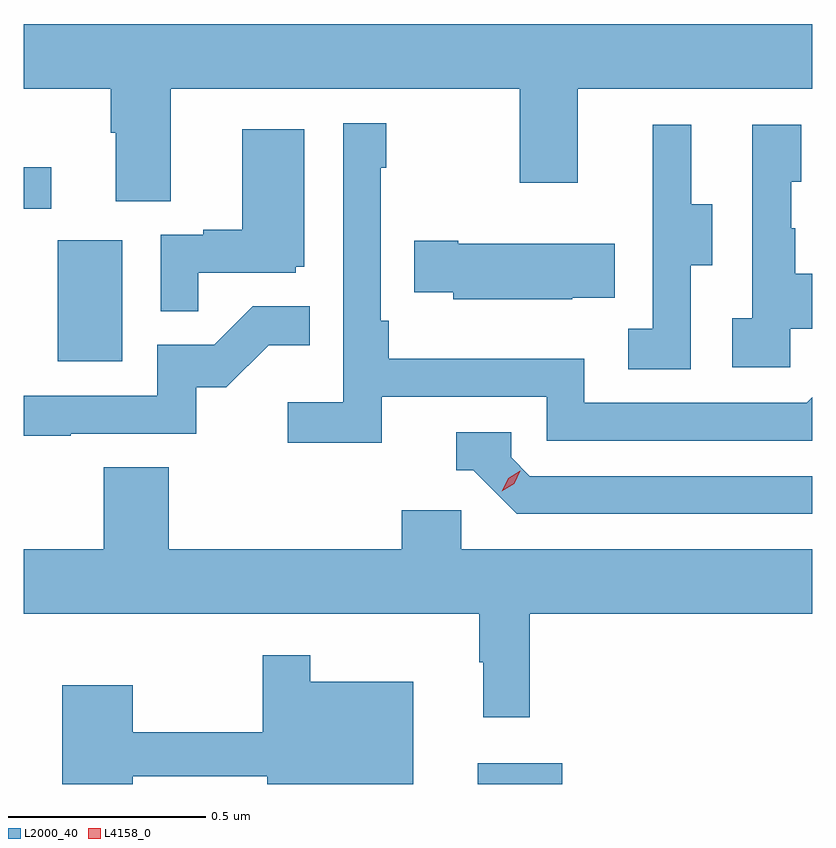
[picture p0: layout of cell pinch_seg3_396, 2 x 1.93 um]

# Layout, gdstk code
import gdstk
lib = gdstk.Library(unit=1e-6, precision=1e-09)
def R(c, l, rs):  # rectangles x0, y0, x1, y1
    for r in rs: c.add(gdstk.rectangle(r[:2], r[2:], *l))
def P(c, l, *ps):  # polygons
    for p in ps: c.add(gdstk.Polygon(p, *l))
L2000_40 = (2000, 40)
L4158_0 = (4158, 0)

pinch_seg3_396 = lib.new_cell('pinch_seg3_396')
R(pinch_seg3_396, L2000_40, [(927.179,705.812,927.394,705.865), (926.114,706.884,926.278,707.191), (926.028,707.271,926.098,707.377)])
P(pinch_seg3_396, L2000_40, [(926.028,707.576),(926.249,707.576),(926.249,707.464),(926.261,707.464),(926.261,707.29),(926.401,707.29),(926.401,707.576),(927.286,707.576),(927.286,707.337),(927.433,707.337),(927.433,707.576),(928.028,707.576),(928.028,707.74),(926.028,707.74)],
  [(926.936,706.794),(927.354,706.794),(927.354,706.683),(928.028,706.683),(928.028,706.793),(928.014,706.779),(927.45,706.779),(927.45,706.891),(926.954,706.891),(926.954,706.987),(926.934,706.987),(926.934,707.375),(926.947,707.375),(926.947,707.488),(926.838,707.488),(926.838,706.78),(926.697,706.78),(926.697,706.678),(926.936,706.678)],
  [(927.972,706.967),(928.028,706.967),(928.028,707.107),(927.985,707.107),(927.985,707.222),(927.975,707.222),(927.975,707.34),(928,707.34),(928,707.485),(927.876,707.485),(927.876,706.994),(927.825,706.994),(927.825,706.869),(927.972,706.869)],
  [(927.72,707.128),(927.775,707.128),(927.775,707.283),(927.721,707.283),(927.721,707.485),(927.623,707.485),(927.623,707.271),(927.624,707.271),(927.624,706.967),(927.561,706.967),(927.561,706.864),(927.72,706.864)],
  [(926.471,707.109),(926.718,707.109),(926.718,707.124),(926.74,707.124),(926.74,707.473),(926.582,707.473),(926.582,707.218),(926.483,707.218),(926.483,707.205),(926.376,707.205),(926.376,707.011),(926.471,707.011)],
  [(927.419,707.045),(927.527,707.045),(927.527,707.182),(927.13,707.182),(927.13,707.19),(927.019,707.19),(927.019,707.06),(927.117,707.06),(927.117,707.042),(927.419,707.042)],
  [(926.147,706.701),(926.466,706.701),(926.466,706.818),(926.542,706.818),(926.649,706.925),(926.753,706.925),(926.753,707.024),(926.609,707.024),(926.511,706.926),(926.367,706.926),(926.367,706.797),(926.028,706.797),(926.028,706.696),(926.147,706.696)],
  [(928.028,706.593),(927.312,706.593),(927.264,706.641),(927.264,706.704),(927.125,706.704),(927.125,706.608),(927.168,706.608),(927.279,706.497),(928.028,706.497)],
  [(927.311,706.244),(928.028,706.244),(928.028,706.408),(927.138,706.408),(927.138,706.506),(926.987,706.506),(926.987,706.408),(926.396,706.408),(926.396,706.616),(926.231,706.616),(926.231,706.408),(926.028,706.408),(926.028,706.244),(927.183,706.244),(927.183,706.121),(927.194,706.121),(927.194,705.981),(927.311,705.981)],
  [(926.304,705.832),(926.645,705.832),(926.645,705.812),(927.016,705.812),(927.016,706.072),(926.755,706.072),(926.755,706.138),(926.634,706.138),(926.634,705.943),(926.304,705.943),(926.304,706.063),(926.126,706.063),(926.126,705.812),(926.304,705.812)])
P(pinch_seg3_396, L4158_0, [(927.241,706.555),(927.241,706.555),(927.257,706.588),(927.287,706.607),(927.288,706.607),(927.288,706.607),(927.272,706.574),(927.241,706.555)])

lib.write_gds('pinch_seg3_396.gds')
